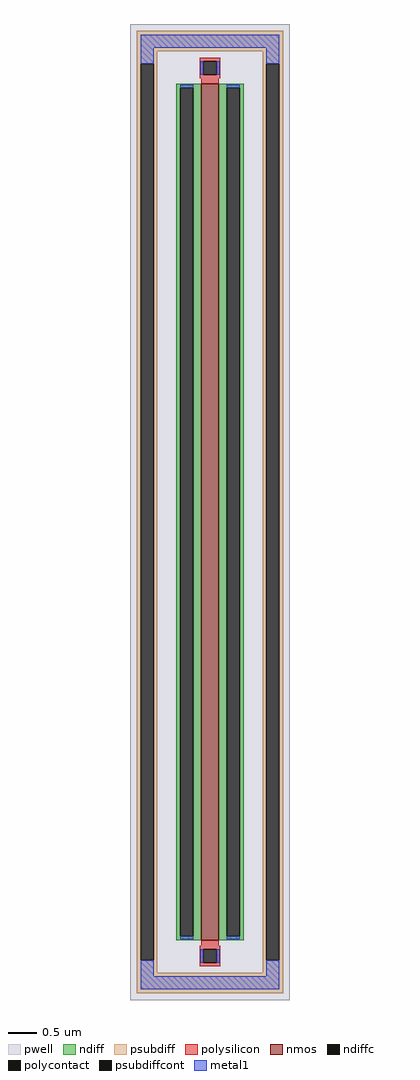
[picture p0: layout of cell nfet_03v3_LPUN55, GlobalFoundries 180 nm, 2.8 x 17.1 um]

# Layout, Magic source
magic
tech gf180mcuD
magscale 1 10
<< pwell >>
rect -280 -1710 280 1710
<< nmos >>
rect -30 -1500 30 1500
<< ndiff >>
rect -118 1487 -30 1500
rect -118 -1487 -105 1487
rect -59 -1487 -30 1487
rect -118 -1500 -30 -1487
rect 30 1487 118 1500
rect 30 -1487 59 1487
rect 105 -1487 118 1487
rect 30 -1500 118 -1487
<< ndiffc >>
rect -105 -1487 -59 1487
rect 59 -1487 105 1487
<< psubdiff >>
rect -256 1614 256 1686
rect -256 1570 -184 1614
rect -256 -1570 -243 1570
rect -197 -1570 -184 1570
rect 184 1570 256 1614
rect -256 -1614 -184 -1570
rect 184 -1570 197 1570
rect 243 -1570 256 1570
rect 184 -1614 256 -1570
rect -256 -1686 256 -1614
<< psubdiffcont >>
rect -243 -1570 -197 1570
rect 197 -1570 243 1570
<< polysilicon >>
rect -36 1579 36 1592
rect -36 1533 -23 1579
rect 23 1533 36 1579
rect -36 1520 36 1533
rect -30 1500 30 1520
rect -30 -1520 30 -1500
rect -36 -1533 36 -1520
rect -36 -1579 -23 -1533
rect 23 -1579 36 -1533
rect -36 -1592 36 -1579
<< polycontact >>
rect -23 1533 23 1579
rect -23 -1579 23 -1533
<< metal1 >>
rect -243 1627 243 1673
rect -243 1570 -197 1627
rect -34 1533 -23 1579
rect 23 1533 34 1579
rect 197 1570 243 1627
rect -105 1487 -59 1498
rect -105 -1498 -59 -1487
rect 59 1487 105 1498
rect 59 -1498 105 -1487
rect -243 -1627 -197 -1570
rect -34 -1579 -23 -1533
rect 23 -1579 34 -1533
rect 197 -1627 243 -1570
rect -243 -1673 243 -1627
<< properties >>
string FIXED_BBOX -220 -1650 220 1650
string gencell nfet_03v3
string library gf180mcu
string parameters w 15.0 l 0.3 m 1 nf 1 diffcov 100 polycov 100 guard 1 glc 1 grc 1 gtc 0 gbc 0 tbcov 100 rlcov 100 topc 1 botc 1 poverlap 0 doverlap 1 lmin 0.28 wmin 0.22 class mosfet full_metal 1 compatible {nfet_03v3 nfet_05v0 nfet_06v0 nfet_06v0_nvt} ad {int((nf+1)/2) * W/nf * 0.18u} as {int((nf+2)/2) * W/nf * 0.18u} pd {2*int((nf+1)/2) * (W/nf + 0.18u)} ps {2*int((nf+2)/2) * (W/nf + 0.18u)} nrd {0.18u / W} nrs {0.18u / W} sa 0 sb 0 sd 0
<< end >>
